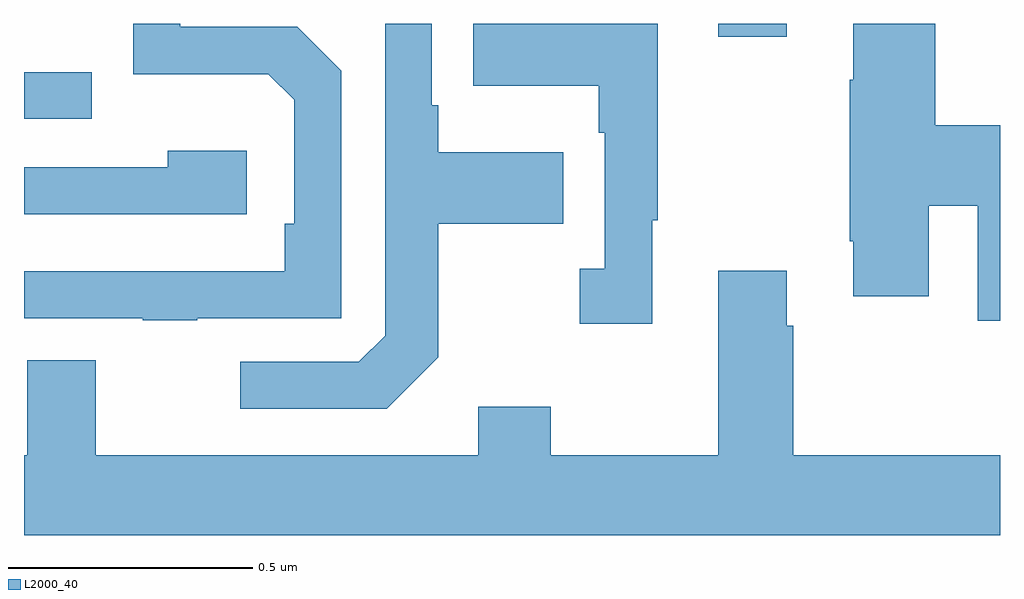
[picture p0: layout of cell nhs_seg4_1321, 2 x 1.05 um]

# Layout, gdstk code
import gdstk
lib = gdstk.Library(unit=1e-6, precision=1e-09)
def R(c, l, rs):  # rectangles x0, y0, x1, y1
    for r in rs: c.add(gdstk.rectangle(r[:2], r[2:], *l))
def P(c, l, *ps):  # polygons
    for p in ps: c.add(gdstk.Polygon(p, *l))
L2000_40 = (2000, 40)

nhs_seg4_1321 = lib.new_cell('nhs_seg4_1321')
R(nhs_seg4_1321, L2000_40, [(127,765.705,127.139,765.801), (128.423,765.873,128.563,765.9)])
P(nhs_seg4_1321, L2000_40, [(127.355,765.297),(127.65,765.297),(127.65,765.804),(127.56,765.894),(127.32,765.894),(127.32,765.9),(127.224,765.9),(127.224,765.797),(127.501,765.797),(127.554,765.744),(127.554,765.49),(127.534,765.49),(127.534,765.393),(127,765.393),(127,765.297),(127.243,765.297),(127.243,765.292),(127.355,765.292)],
  [(127.849,765.217),(127.849,765.49),(128.105,765.49),(128.105,765.637),(127.849,765.637),(127.849,765.733),(127.836,765.733),(127.836,765.9),(127.74,765.9),(127.74,765.261),(127.686,765.207),(127.443,765.207),(127.443,765.111),(127.743,765.111)],
  [(129,765.692),(128.867,765.692),(128.867,765.9),(128.699,765.9),(128.699,765.785),(128.692,765.785),(128.692,765.454),(128.699,765.454),(128.699,765.342),(128.854,765.342),(128.854,765.527),(128.954,765.527),(128.954,765.291),(129,765.291)],
  [(128.287,765.497),(128.299,765.497),(128.299,765.9),(127.921,765.9),(127.921,765.773),(128.178,765.773),(128.178,765.677),(128.19,765.677),(128.19,765.398),(128.139,765.398),(128.139,765.285),(128.287,765.285)],
  [(127.456,765.64),(127.295,765.64),(127.295,765.606),(127,765.606),(127,765.51),(127.456,765.51)],
  [(129,765.016),(128.576,765.016),(128.576,765.281),(128.563,765.281),(128.563,765.394),(128.423,765.394),(128.423,765.016),(128.079,765.016),(128.079,765.115),(127.931,765.115),(127.931,765.016),(127.147,765.016),(127.147,765.211),(127.007,765.211),(127.007,765.016),(127,765.016),(127,764.852),(129,764.852)])

lib.write_gds('nhs_seg4_1321.gds')
